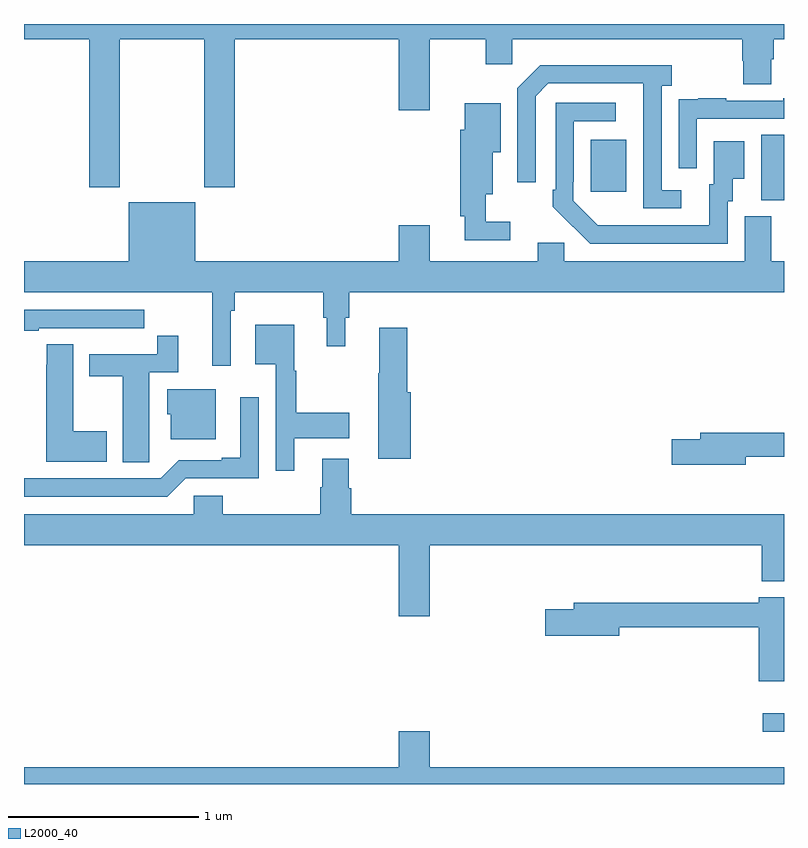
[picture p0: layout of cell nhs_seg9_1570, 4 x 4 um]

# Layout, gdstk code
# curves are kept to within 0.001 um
import gdstk
lib = gdstk.Library(unit=1e-6, precision=1e-09)
def R(c, l, rs):  # rectangles x0, y0, x1, y1
    for r in rs: c.add(gdstk.rectangle(r[:2], r[2:], *l))
def P(c, l, *ps):  # polygons
    for p in ps: c.add(gdstk.Polygon(p, *l))
L2000_40 = (2000, 40)

nhs_seg9_1570 = lib.new_cell('nhs_seg9_1570')
R(nhs_seg9_1570, L2000_40, [(202.887,1192.776,203,1192.872), (202.88,1195.573,203,1195.916), (201.983,1195.617,202.171,1195.891)])
P(nhs_seg9_1570, L2000_40, [(199.503,1196.42),(199.948,1196.42),(199.948,1195.641),(200.108,1195.641),(200.108,1196.42),(200.972,1196.42),(200.972,1196.046),(201.136,1196.046),(201.136,1196.42),(201.431,1196.42),(201.431,1196.289),(201.57,1196.289),(201.57,1196.42),(202.781,1196.42),(202.781,1196.307),(202.786,1196.307),(202.786,1196.182),(202.933,1196.182),(202.933,1196.314),(202.946,1196.314),(202.946,1196.42),(203,1196.42),(203,1196.5),(199,1196.5),(199,1196.42),(199.343,1196.42),(199.343,1195.641),(199.503,1195.641)],
  [(202.459,1195.626),(202.356,1195.626),(202.356,1196.174),(202.408,1196.174),(202.408,1196.284),(201.718,1196.284),(201.597,1196.163),(201.597,1195.668),(201.693,1195.668),(201.693,1196.121),(201.759,1196.187),(202.259,1196.187),(202.26,1195.53),(202.459,1195.53)],
  [(202.542,1196.001),(203,1196.001),(203,1196.11),(202.997,1196.11),(202.997,1196.097),(202.697,1196.097),(202.697,1196.11),(202.549,1196.11),(202.549,1196.103),(202.447,1196.103),(202.447,1195.994),(202.446,1195.994),(202.446,1195.74),(202.542,1195.74)],
  [(202.704,1195.566),(202.729,1195.566),(202.729,1195.685),(202.792,1195.685),(202.792,1195.882),(202.631,1195.882),(202.631,1195.656),(202.607,1195.656),(202.607,1195.44),(202.02,1195.441),(201.891,1195.569),(201.891,1195.669),(201.894,1195.669),(201.894,1195.989),(202.114,1195.989),(202.114,1196.085),(201.798,1196.085),(201.798,1195.627),(201.783,1195.627),(201.783,1195.539),(201.98,1195.344),(202.704,1195.344)],
  [(201.559,1195.459),(201.43,1195.459),(201.43,1195.604),(201.466,1195.604),(201.466,1195.826),(201.508,1195.826),(201.508,1196.083),(201.32,1196.083),(201.32,1195.944),(201.296,1195.944),(201.296,1195.487),(201.32,1195.487),(201.32,1195.362),(201.559,1195.362)],
  [(203,1195.252),(202.933,1195.252),(202.933,1195.488),(202.793,1195.488),(202.793,1195.252),(201.843,1195.252),(201.843,1195.35),(201.704,1195.35),(201.704,1195.252),(201.136,1195.252),(201.136,1195.441),(200.972,1195.441),(200.972,1195.252),(199.9,1195.252),(199.9,1195.561),(199.55,1195.561),(199.55,1195.252),(199,1195.252),(199,1195.088),(199.991,1195.088),(199.991,1194.702),(200.088,1194.702),(200.088,1194.992),(200.108,1194.992),(200.108,1195.088),(200.575,1195.088),(200.575,1194.954),(200.594,1194.954),(200.594,1194.804),(200.692,1194.804),(200.692,1194.954),(200.711,1194.954),(200.711,1195.088),(203,1195.088)],
  [(199.078,1194.9),(199.354,1194.9),(199.354,1194.899),(199.52,1194.899),(199.52,1194.9),(199.633,1194.9),(199.633,1194.996),(199,1194.996),(199,1194.885),(199.078,1194.885)],
  [(200.422,1194.32),(200.713,1194.32),(200.713,1194.455),(200.434,1194.455),(200.434,1194.675),(200.422,1194.675),(200.422,1194.916),(200.216,1194.916),(200.216,1194.71),(200.325,1194.71),(200.325,1194.15),(200.422,1194.15)],
  [(201.035,1194.561),(201.017,1194.561),(201.017,1194.901),(200.87,1194.901),(200.87,1194.661),(200.864,1194.661),(200.864,1194.213),(201.035,1194.213)],
  [(199.659,1194.304),(199.66,1194.304),(199.66,1194.666),(199.811,1194.666),(199.811,1194.859),(199.702,1194.859),(199.702,1194.762),(199.343,1194.762),(199.343,1194.646),(199.52,1194.646),(199.52,1194.193),(199.659,1194.193)],
  [(199.435,1194.357),(199.258,1194.357),(199.258,1194.815),(199.119,1194.815),(199.119,1194.707),(199.118,1194.707),(199.118,1194.197),(199.435,1194.197)],
  [(200.008,1194.577),(199.754,1194.577),(199.754,1194.447),(199.772,1194.447),(199.772,1194.314),(200.008,1194.314)],
  [(199.851,1194.108),(200.235,1194.108),(200.235,1194.535),(200.138,1194.535),(200.138,1194.217),(200.042,1194.217),(200.042,1194.204),(199.815,1194.204),(199.719,1194.108),(199,1194.108),(199,1194.012),(199.755,1194.012)],
  [(202.798,1194.222),(203,1194.222),(203,1194.35),(202.559,1194.35),(202.559,1194.314),(202.41,1194.314),(202.41,1194.179),(202.798,1194.179)],
  [(201.136,1193.756),(202.883,1193.756),(202.883,1193.567),(203,1193.567),(203,1193.92),(200.723,1193.92),(200.723,1194.057),(200.71,1194.057),(200.71,1194.211),(200.57,1194.211),(200.57,1194.062),(200.558,1194.062),(200.558,1193.92),(200.045,1193.92),(200.045,1194.018),(199.893,1194.018),(199.893,1193.92),(199,1193.92),(199,1193.756),(200.972,1193.756),(200.972,1193.382),(201.136,1193.382)],
  [(203,1193.482),(202.868,1193.482),(202.868,1193.455),(201.893,1193.455),(201.893,1193.421),(201.744,1193.421),(201.744,1193.279),(202.132,1193.279),(202.132,1193.326),(202.868,1193.326),(202.868,1193.04),(203,1193.04)],
  [(203,1192.588),(201.136,1192.588),(201.136,1192.777),(200.972,1192.777),(200.972,1192.588),(199,1192.588),(199,1192.5),(203,1192.5)])

lib.write_gds('nhs_seg9_1570.gds')
